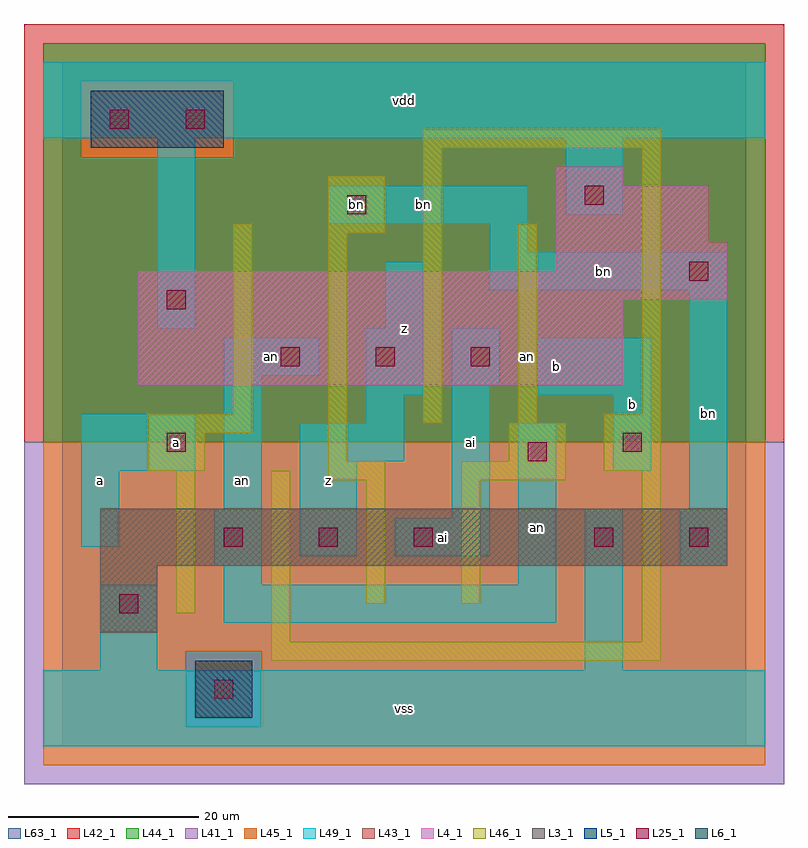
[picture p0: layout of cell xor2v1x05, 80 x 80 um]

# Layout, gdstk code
import gdstk
lib = gdstk.Library(unit=1e-6, precision=1e-09)
def R(c, l, rs):  # rectangles x0, y0, x1, y1
    for r in rs: c.add(gdstk.rectangle(r[:2], r[2:], *l))
def A(c, l, x, y, w, h, nx, ny, dx, dy):  # array of equal rectangles
    R(c, l, [(x+i*dx, y+j*dy, x+i*dx+w, y+j*dy+h) for i in range(nx) for j in range(ny)])
L3_1 = (3, 1)
L4_1 = (4, 1)
L5_1 = (5, 1)
L6_1 = (6, 1)
L25_1 = (25, 1)
L41_1 = (41, 1)
L42_1 = (42, 1)
L43_1 = (43, 1)
L44_1 = (44, 1)
L45_1 = (45, 1)
L46_1 = (46, 1)
L49_1 = (49, 1)
L63_1 = (63, 1)

xor2v1x05 = lib.new_cell('xor2v1x05')
R(xor2v1x05, L3_1, [(4,12,10,19), (4,19,70,25)])
R(xor2v1x05, L4_1, [(8,38,59,47), (8,47,70,50), (52,50,70,53), (52,53,68,59), (52,59,59,61)])
R(xor2v1x05, L5_1, [(3,63,17,69)])
R(xor2v1x05, L6_1, [(14,3,20,9), (14,3,20,9)])
A(xor2v1x05, L25_1, 17, 21, 2, 2, 3, 1, 10, 0)
A(xor2v1x05, L25_1, 23, 40, 2, 2, 3, 1, 10, 0)
R(xor2v1x05, L25_1, [(16,5,18,7), (6,14,8,16), (56,21,58,23), (66,21,68,23), (49,30,51,32), (11,31,13,33), (59,31,61,33), (11,46,13,48), (66,49,68,51), (30,56,32,58), (55,57,57,59), (5,65,7,67), (13,65,15,67)])
R(xor2v1x05, L41_1, [(-4,-4,76,32)])
R(xor2v1x05, L42_1, [(-4,32,76,76)])
R(xor2v1x05, L43_1, [(14,3,20,9), (4,12,10,19), (4,19,70,25), (8,38,59,47), (8,47,70,50), (52,50,70,53), (52,53,68,59), (52,59,59,61), (3,63,17,69)])
R(xor2v1x05, L44_1, [(13,2,21,10), (-2,32,74,62), (-2,62,2,70), (18,62,74,70), (-2,70,74,74)])
R(xor2v1x05, L45_1, [(-2,-2,74,2), (-2,2,13,10), (21,2,74,10), (-2,10,74,32), (2,62,18,70)])
R(xor2v1x05, L46_1, [(22,9,63,11), (22,11,24,29), (61,11,63,29), (12,14,14,29), (32,15,34,28), (42,15,44,28), (28,28,34,30), (42,28,53,30), (9,29,15,33), (57,29,63,35), (28,30,30,54), (47,30,53,34), (9,33,20,35), (38,34,40,63), (48,34,50,55), (18,35,20,55), (61,35,63,63), (28,54,34,60), (38,63,63,65)])
R(xor2v1x05, L49_1, [(-2,0,74,8), (4,8,10,17), (55,8,59,25), (17,13,52,17), (17,17,21,19), (48,17,52,34), (16,19,21,25), (65,19,70,25), (25,20,31,30), (35,20,45,24), (2,21,6,29), (41,24,45,38), (17,25,21,39), (66,25,70,48), (2,29,14,35), (58,29,62,37), (25,30,36,34), (32,34,36,37), (32,37,38,44), (50,37,62,43), (41,38,46,44), (17,39,27,43), (10,44,14,64), (34,44,38,51), (45,48,70,52), (45,52,49,55), (28,55,49,59), (53,56,59,64), (-2,64,74,72)])
R(xor2v1x05, L63_1, [(0,0,72,72)])
xor2v1x05.add(gdstk.Label('bn', (31,57), layer=49, texttype=1))
xor2v1x05.add(gdstk.Label('an', (49,41), layer=46, texttype=1))
xor2v1x05.add(gdstk.Label('a', (4,28), layer=49, texttype=1))
xor2v1x05.add(gdstk.Label('a', (12,32), layer=49, texttype=1))
xor2v1x05.add(gdstk.Label('z', (28,28), layer=49, texttype=1))
xor2v1x05.add(gdstk.Label('an', (19,28), layer=49, texttype=1))
xor2v1x05.add(gdstk.Label('an', (22,41), layer=49, texttype=1))
xor2v1x05.add(gdstk.Label('vss', (36,4), layer=49, texttype=1))
xor2v1x05.add(gdstk.Label('an', (50,23), layer=49, texttype=1))
xor2v1x05.add(gdstk.Label('ai', (40,22), layer=49, texttype=1))
xor2v1x05.add(gdstk.Label('b', (52,40), layer=49, texttype=1))
xor2v1x05.add(gdstk.Label('ai', (43,32), layer=49, texttype=1))
xor2v1x05.add(gdstk.Label('z', (36,44), layer=49, texttype=1))
xor2v1x05.add(gdstk.Label('bn', (38,57), layer=49, texttype=1))
xor2v1x05.add(gdstk.Label('vdd', (36,68), layer=49, texttype=1))
xor2v1x05.add(gdstk.Label('b', (60,36), layer=49, texttype=1))
xor2v1x05.add(gdstk.Label('bn', (68,35), layer=49, texttype=1))
xor2v1x05.add(gdstk.Label('bn', (57,50), layer=49, texttype=1))

lib.write_gds('xor2v1x05.gds')
